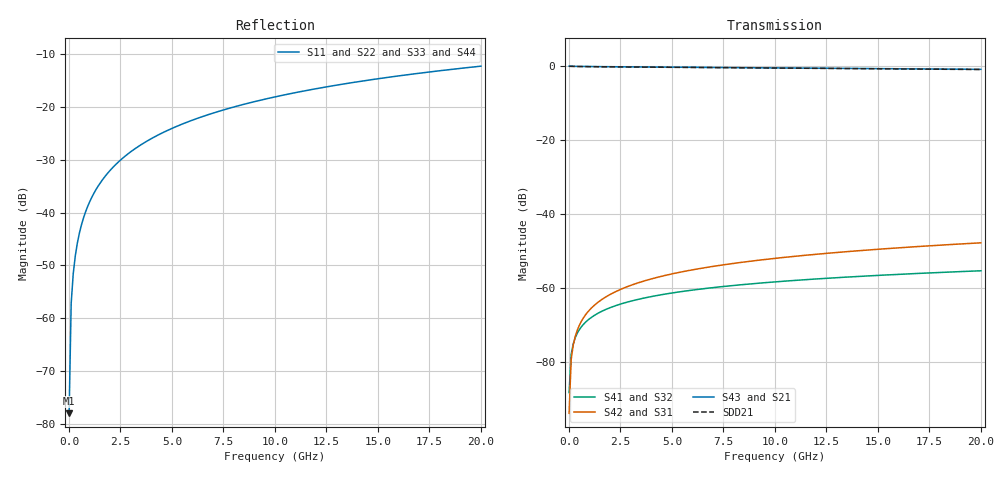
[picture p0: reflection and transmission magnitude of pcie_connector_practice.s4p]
! Synthetic PCIe Connector S4P ¡X Practice File
! Port mapping:
!  Port 1 = D+ TX  Port 2 = D+ RX
!  Port 3 = D- TX  Port 4 = D- RX
! Frequency: 0.01 ~ 20 GHz, 201 points
! IL @ 8 GHz ~ -1.0 dB | RL ~ -25 dB | Zdiff ~ 98 ohm
# GHz S RI R 50
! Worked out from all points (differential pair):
!   201 points, 10 MHz to 20 GHz, reference 50 ohm
!   strongest paths, dB at 10 MHz, 5.008 GHz, 10.01 GHz, 15 GHz, 20 GHz:
!     S43: 0.1, -0.2, -0.4, -0.6, -0.8
!     S21: 0.0, -0.3, -0.5, -0.7, -0.9
!     S42: -94.0, -56.2, -52.0, -49.6, -47.8
!     S31: -94.0, -56.2, -52.0, -49.6, -47.8
!     S41: -88.4, -61.4, -58.4, -56.7, -55.4
!     S32: -88.4, -61.4, -58.4, -56.7, -55.4
!   taken as a pair (ports 3,1 in; 4,2 out), SDD21 dB: 0.0, -0.3, -0.4, -0.6, -0.9
!   lowest |S11| = -78.0 dB at 10 MHz (marker M1), VSWR 1.00, Z = 50 + j0.0126 ohm
!   |S11| at or under -10 dB: start of sweep to end of sweep
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0.01  1.6e-08 0.000126  0.9988 -0.00502  9.95e-06 1.72e-05  3.08e-05 2.21e-05
      0.9988 -0.00502  1.6e-08 0.000126  3.08e-05 2.21e-05  9.95e-06 1.72e-05
      9.95e-06 1.72e-05  3.08e-05 2.21e-05  1.6e-08 0.000126  1.006 -0.0027
      3.08e-05 2.21e-05  9.95e-06 1.72e-05  1.006 -0.0027  1.6e-08 0.000126
0.50975  4.1e-05 0.00641  0.959 -0.2512  0.000173 0.000259  0.000252 9.85e-05
         0.959 -0.2512  4.1e-05 0.00641  0.000252 9.85e-05  0.000173 0.000259
         0.000173 0.000259  0.000252 9.85e-05  4.12e-05 0.00643  0.9669 -0.251
         0.000252 9.85e-05  0.000173 0.000259  0.9669 -0.251  4.12e-05 0.00643
2.6087  0.00107 0.0327  0.2512 -0.9459  0.000734 0.000643  0.000475 -0.000387
        0.2512 -0.9459  0.00107 0.0327  0.000475 -0.000387  0.000734 0.000643
        0.000734 0.000643  0.000475 -0.000387  0.00108 0.0329  0.255 -0.9528
        0.000475 -0.000387  0.000734 0.000643  0.255 -0.9528  0.00108 0.0329
6.007  0.00567 0.0751  -0.9569 -0.1175  0.00168 0.000504  -0.00068 -0.000634
       -0.9569 -0.1175  0.00567 0.0751  -0.00068 -0.000634  0.00168 0.000504
       0.00168 0.000504  -0.00068 -0.000634  0.00569 0.0754  -0.9642 -0.1198
       -0.00068 -0.000634  0.00168 0.000504  -0.9642 -0.1198  0.00569 0.0754
9.0055  0.0126 0.1117  -0.1758 0.9356  0.00231 -0.000196  -0.000828 0.000782
        -0.1758 0.9356  0.0126 0.1117  -0.000828 0.000782  0.00231 -0.000196
        0.00231 -0.000196  -0.000828 0.000782  0.0127 0.1122  -0.1782 0.9429
        -0.000828 0.000782  0.00231 -0.000196  -0.1782 0.9429  0.0127 0.1122
15.4023  0.0361 0.1866  0.1034 -0.9194  0.00213 -0.00262  0.001 -0.0011
         0.1034 -0.9194  0.0361 0.1866  0.001 -0.0011  0.00213 -0.00262
         0.00213 -0.00262  0.001 -0.0011  0.0363 0.1873  0.1042 -0.9267
         0.001 -0.0011  0.00213 -0.00262  0.1042 -0.9267  0.0363 0.1873
20  0.0594 0.2364  -0.7316 0.5316  0.000425 -0.00404  -0.0017 -0
    -0.7316 0.5316  0.0594 0.2364  -0.0017 -0  0.000425 -0.00404
    0.000425 -0.00404  -0.0017 -0  0.0597 0.2373  -0.7371 0.5363
    -0.0017 -0  0.000425 -0.00404  -0.7371 0.5363  0.0597 0.2373
